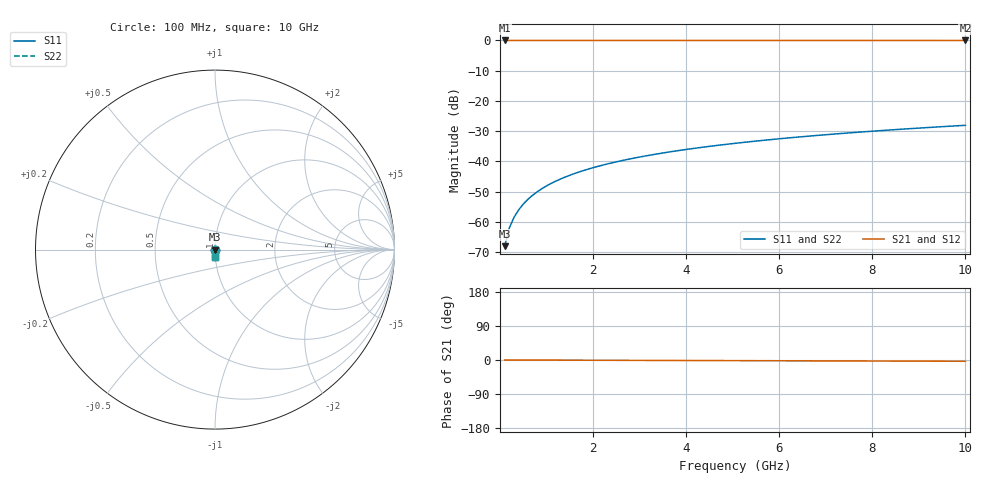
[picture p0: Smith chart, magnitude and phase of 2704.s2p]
# Hz S RI R 50.00
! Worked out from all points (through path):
!   100 points, 100 MHz to 10 GHz, reference 50 ohm
!   highest |S21| = 0.00 dB at 100 MHz (marker M1); lowest = 0.0 dB at 10 GHz (marker M2)
!   lowest |S11| = -68.0 dB at 100 MHz (marker M3), VSWR 1.00, Z = 50 - j0.0395 ohm
!   |S11| at or under -10 dB: start of sweep to end of sweep
!   |S22| runs from -68.0 to -28.0 dB; largest |S21 - S12| = 0
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1e8  5.85e-05 -0.000395  0.9999 -0.000581  0.9999 -0.000581  5.85e-05 -0.000395
2e8  5.77e-05 -0.000789  0.9999 -0.00116  0.9999 -0.00116  5.77e-05 -0.000789
3e8  5.64e-05 -0.00118  0.9999 -0.00174  0.9999 -0.00174  5.64e-05 -0.00118
4e8  5.46e-05 -0.00158  0.9999 -0.00232  0.9999 -0.00232  5.46e-05 -0.00158
5e8  5.22e-05 -0.00197  0.9999 -0.00291  0.9999 -0.00291  5.22e-05 -0.00197
6e8  4.94e-05 -0.00237  0.9999 -0.00349  0.9999 -0.00349  4.94e-05 -0.00237
7e8  4.62e-05 -0.00276  0.9999 -0.00407  0.9999 -0.00407  4.62e-05 -0.00276
8e8  4.24e-05 -0.00316  0.9999 -0.00465  0.9999 -0.00465  4.24e-05 -0.00316
9e8  3.82e-05 -0.00355  0.9999 -0.00523  0.9999 -0.00523  3.82e-05 -0.00355
1.1e9  2.83e-05 -0.00434  0.9999 -0.00639  0.9999 -0.00639  2.83e-05 -0.00434
1.4e9  1.01e-05 -0.00553  0.9999 -0.00814  0.9999 -0.00814  1.01e-05 -0.00553
1.8e9  -2.07e-05 -0.0071  0.9998 -0.0105  0.9998 -0.0105  -2.07e-05 -0.0071
2.1e9  -4.87e-05 -0.00829  0.9998 -0.0122  0.9998 -0.0122  -4.87e-05 -0.00829
2.5e9  -9.24e-05 -0.00987  0.9998 -0.0145  0.9998 -0.0145  -9.24e-05 -0.00987
2.9e9  -0.000144 -0.0114  0.9997 -0.0169  0.9997 -0.0169  -0.000144 -0.0114
3.4e9  -0.000218 -0.0134  0.9996 -0.0198  0.9996 -0.0198  -0.000218 -0.0134
4.2e9  -0.000361 -0.0166  0.9995 -0.0244  0.9995 -0.0244  -0.000361 -0.0166
5.1e9  -0.000557 -0.0201  0.9993 -0.0297  0.9993 -0.0297  -0.000557 -0.0201
5.9e9  -0.000763 -0.0233  0.999 -0.0343  0.999 -0.0343  -0.000763 -0.0233
6.7e9  -0.000999 -0.0265  0.9988 -0.039  0.9988 -0.039  -0.000999 -0.0265
8.4e9  -0.0016 -0.0332  0.9981 -0.0489  0.9981 -0.0489  -0.0016 -0.0332
1e10  -0.00229 -0.0395  0.9974 -0.0583  0.9974 -0.0583  -0.00229 -0.0395
